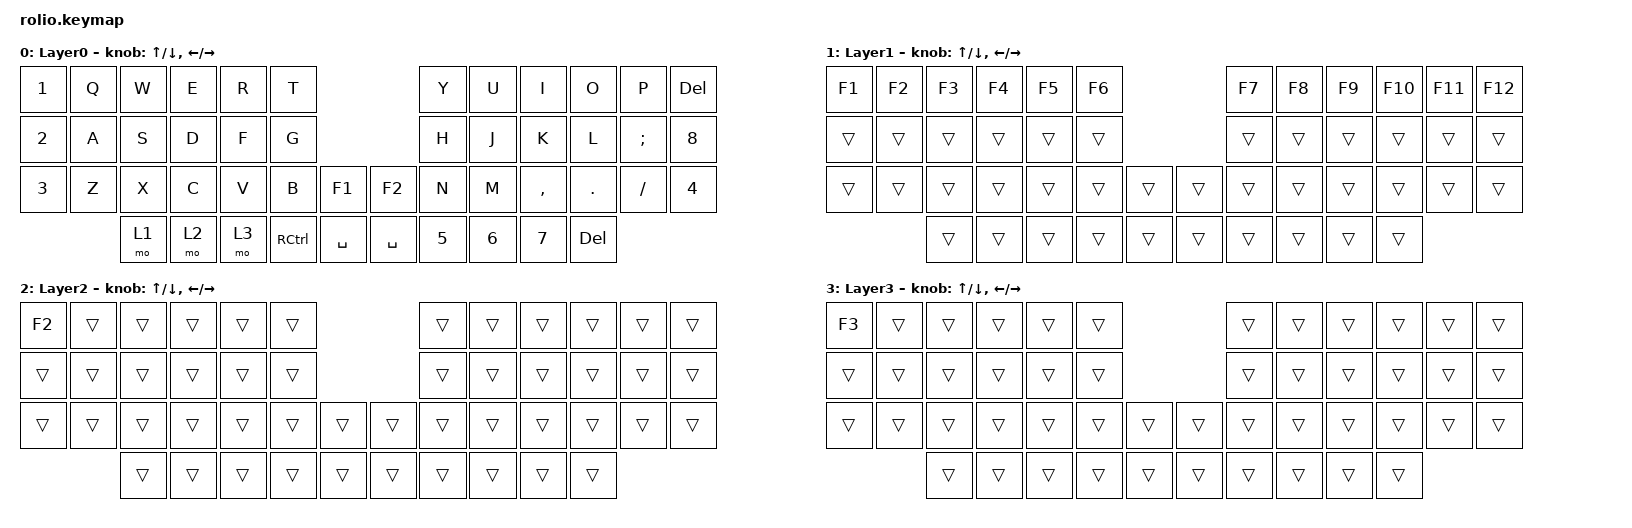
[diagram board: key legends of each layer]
#include <behaviors.dtsi>
#include <dt-bindings/zmk/keys.h>

#define L0     0
#define L1     1 
#define L2     2
#define L3     3

/ {
    // macros {
    //     td0:td0{
    //             label = "qiehuan_MACOS";
    //             compatible = "zmk,behavior-macro";
    //             #binding-cells = <0>;
    //             bindings
    //                 = <&macro_tap &tog MACOS>
    //                 , <&macro_tap &tog FKEYS>
    //                 ;
    //     };
    //     td1:td1{
    //             label = "qiehuan_FKEYS";
    //             compatible = "zmk,behavior-macro";
    //             #binding-cells = <0>;
    //             bindings
    //                 = <&macro_tap &tog FKEYS>
    //                 , <&macro_tap &tog MACOS>
    //                 ;
    //     };
    // }

    keymap {
        compatible = "zmk,keymap";

        L0 {
            display-name = "Layer0";
            sensor-bindings = <&inc_dec_kp UP DOWN &inc_dec_kp LEFT RIGHT>;
            bindings = <
&kp NUMBER_1  &kp Q  &kp W  &kp E  &kp R  &kp T                            &kp Y         &kp U         &kp I         &kp O    &kp P     &kp DEL
&kp NUMBER_2  &kp A  &kp S  &kp D  &kp F  &kp G                            &kp H         &kp J         &kp K         &kp L    &kp SEMI  &kp NUMBER_8
&kp NUMBER_3  &kp Z  &kp X  &kp C  &kp V  &kp B      &kp F1     &kp F2     &kp N         &kp M         &kp COMMA     &kp DOT  &kp FSLH  &kp NUMBER_4
                     &mo 1  &mo 2  &mo 3  &kp RCTRL  &kp SPACE  &kp SPACE  &kp NUMBER_5  &kp NUMBER_6  &kp NUMBER_7  &kp DEL
            >;
        };

        L1 {
            display-name = "Layer1";
            sensor-bindings = <&inc_dec_kp UP DOWN &inc_dec_kp LEFT RIGHT>;
            bindings = <
&kp F1  &kp F2  &kp F3  &kp F4  &kp F5  &kp F6                  &kp F7  &kp F8  &kp F9  &kp F10  &kp F11  &kp F12
&trans  &trans  &trans  &trans  &trans  &trans                  &trans  &trans  &trans  &trans   &trans   &trans
&trans  &trans  &trans  &trans  &trans  &trans  &trans  &trans  &trans  &trans  &trans  &trans   &trans   &trans
                &trans  &trans  &trans  &trans  &trans  &trans  &trans  &trans  &trans  &trans
            >;
        };

        L2 {
            display-name = "Layer2";
            sensor-bindings = <&inc_dec_kp UP DOWN &inc_dec_kp LEFT RIGHT>;
            bindings = <
&kp F2  &trans  &trans  &trans  &trans  &trans                  &trans  &trans  &trans  &trans  &trans  &trans
&trans  &trans  &trans  &trans  &trans  &trans                  &trans  &trans  &trans  &trans  &trans  &trans
&trans  &trans  &trans  &trans  &trans  &trans  &trans  &trans  &trans  &trans  &trans  &trans  &trans  &trans
                &trans  &trans  &trans  &trans  &trans  &trans  &trans  &trans  &trans  &trans
            >;
        };

        L3 {
            display-name = "Layer3";
            sensor-bindings = <&inc_dec_kp UP DOWN &inc_dec_kp LEFT RIGHT>;
            bindings = <
&kp F3  &trans  &trans  &trans  &trans  &trans                  &trans  &trans  &trans  &trans  &trans  &trans
&trans  &trans  &trans  &trans  &trans  &trans                  &trans  &trans  &trans  &trans  &trans  &trans
&trans  &trans  &trans  &trans  &trans  &trans  &trans  &trans  &trans  &trans  &trans  &trans  &trans  &trans
                &trans  &trans  &trans  &trans  &trans  &trans  &trans  &trans  &trans  &trans
            >;
        };
    };
};
